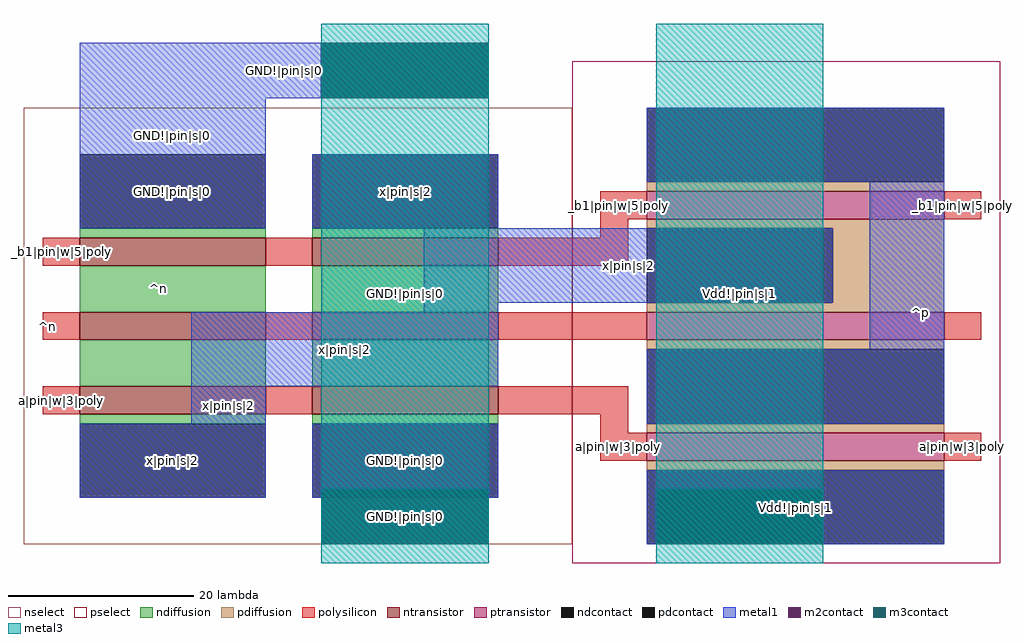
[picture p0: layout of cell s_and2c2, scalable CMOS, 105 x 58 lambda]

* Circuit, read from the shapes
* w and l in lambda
.subckt s_and2c2 GND!|pin|s|0 Vdd!|pin|s|1 _b0|pin|w|4|poly _b1|pin|w|5|poly a|pin|w|3|poly x|pin|s|2
M1 n1 a|pin|w|3|poly x|pin|s|2 VSUBS nfet w=20 l=3
M2 n2 _b0|pin|w|4|poly n1 VSUBS nfet w=20 l=3
M3 GND!|pin|s|0 _b1|pin|w|5|poly n2 VSUBS nfet w=20 l=3
M4 n3 a|pin|w|3|poly GND!|pin|s|0 VSUBS nfet w=20 l=3
M5 n4 _b0|pin|w|4|poly n3 VSUBS nfet w=20 l=3
M6 x|pin|s|2 _b1|pin|w|5|poly n4 VSUBS nfet w=20 l=3
M7 n5 a|pin|w|3|poly Vdd!|pin|s|1 NWELL pfet w=32 l=3
M8 x|pin|s|2 _b0|pin|w|4|poly n5 NWELL pfet w=32 l=3
M9 n5 _b1|pin|w|5|poly x|pin|s|2 NWELL pfet w=32 l=3
.ends

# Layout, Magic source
magic
tech scmos
<< nselect >>
rect -59 549 0 596
<< pselect >>
rect 0 547 46 601
<< ndiffusion >>
rect -53 582 -33 583
rect -28 582 -8 583
rect -53 574 -33 579
rect -28 574 -8 579
rect -53 566 -33 571
rect -28 566 -8 571
rect -53 562 -33 563
rect -28 562 -8 563
<< pdiffusion >>
rect 8 587 40 588
rect 8 583 40 584
rect 28 575 40 583
rect 8 574 40 575
rect 8 570 40 571
rect 8 561 40 562
rect 8 557 40 558
<< ntransistor >>
rect -53 579 -33 582
rect -28 579 -8 582
rect -53 571 -33 574
rect -28 571 -8 574
rect -53 563 -33 566
rect -28 563 -8 566
<< ptransistor >>
rect 8 584 40 587
rect 8 571 40 574
rect 8 558 40 561
<< polysilicon >>
rect 3 584 8 587
rect 40 584 44 587
rect 3 582 6 584
rect -57 579 -53 582
rect -33 579 -28 582
rect -8 579 6 582
rect -57 571 -53 574
rect -33 571 -28 574
rect -8 571 8 574
rect 40 571 44 574
rect -57 563 -53 566
rect -33 563 -28 566
rect -8 563 6 566
rect 3 561 6 563
rect 3 558 8 561
rect 40 558 44 561
<< ndcontact >>
rect -53 583 -33 591
rect -28 583 -8 591
rect -53 554 -33 562
rect -28 554 -8 562
<< pdcontact >>
rect 8 588 40 596
rect 8 575 28 583
rect 8 562 40 570
rect 8 549 40 557
<< metal1 >>
rect -53 597 -27 603
rect -53 583 -33 597
rect -28 583 -8 591
rect 8 588 40 596
rect -16 575 28 583
rect -16 574 -8 575
rect -41 566 -8 574
rect 32 570 40 588
rect -41 562 -33 566
rect 8 562 40 570
rect -53 554 -33 562
rect -28 555 -8 562
rect -28 554 -27 555
rect -9 554 -8 555
rect 8 555 40 557
rect 8 549 9 555
rect 27 549 40 555
<< m2contact >>
rect -27 597 -9 603
rect -27 549 -9 555
rect 9 549 27 555
<< m3contact >>
rect -27 597 -9 603
rect -27 549 -9 555
rect 9 549 27 555
<< metal3 >>
rect -27 547 -9 605
rect 9 547 27 605
<< labels >>
rlabel space -61 549 -28 604 7 ^n
rlabel space -60 549 -53 596 7 ^n
rlabel space 28 547 47 601 3 ^p
rlabel metal3 -27 547 -9 605 1 GND!|pin|s|0
rlabel metal3 9 547 27 605 1 Vdd!|pin|s|1
rlabel metal1 -53 583 -33 603 1 GND!|pin|s|0
rlabel metal1 -53 583 -33 591 1 GND!|pin|s|0
rlabel metal1 -53 597 -9 603 5 GND!|pin|s|0
rlabel metal1 -28 554 -8 562 1 GND!|pin|s|0
rlabel metal1 -27 549 -9 555 1 GND!|pin|s|0
rlabel metal1 8 549 40 557 1 Vdd!|pin|s|1
rlabel metal1 -16 575 28 583 1 x|pin|s|2
rlabel metal1 -28 583 -8 591 1 x|pin|s|2
rlabel metal1 -41 566 -8 574 1 x|pin|s|2
rlabel metal1 -53 554 -33 562 1 x|pin|s|2
rlabel metal1 -41 554 -33 574 1 x|pin|s|2
rlabel polysilicon 40 558 44 561 1 a|pin|w|3|poly
rlabel polysilicon 3 558 7 561 1 a|pin|w|3|poly
rlabel polysilicon -57 563 -53 566 1 a|pin|w|3|poly
rlabel polysilicon -57 571 -53 574 1 _b0|pin|w|4|poly
rlabel polysilicon 40 571 44 574 1 _b0|pin|w|4|poly
rlabel polysilicon 40 584 44 587 1 _b1|pin|w|5|poly
rlabel polysilicon 3 584 7 587 1 _b1|pin|w|5|poly
rlabel polysilicon -57 579 -53 582 1 _b1|pin|w|5|poly
<< end >>
